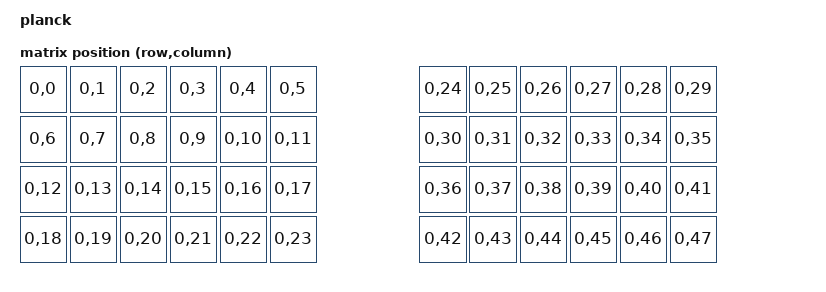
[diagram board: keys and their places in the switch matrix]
/*
 * SPDX-License-Identifier: MIT
 */

#include <nordic/nrf52840_qiaa.dtsi>
#include <dt-bindings/zmk/matrix_transform.h>
#include <physical_layouts.dtsi>

/ {
    model = "planck";
    compatible = "yangxing,planck";

    chosen {
        zephyr,code-partition = &code_partition;
        zephyr,sram = &sram0;
        zephyr,flash = &flash0;
        zephyr,entropy = &rng;
        zmk,battery = &vbatt;
    };

    default_transform: keymap_transform_0 {
        compatible = "zmk,matrix-transform";
        columns = <48>;
        rows = <1>;
        map = <
            RC(0,0)  RC(0,1)  RC(0,2)  RC(0,3)  RC(0,4)  RC(0,5)   RC(0,24) RC(0,25) RC(0,26) RC(0,27) RC(0,28) RC(0,29)
            RC(0,6)  RC(0,7)  RC(0,8)  RC(0,9)  RC(0,10) RC(0,11)  RC(0,30) RC(0,31) RC(0,32) RC(0,33) RC(0,34) RC(0,35)
            RC(0,12) RC(0,13) RC(0,14) RC(0,15) RC(0,16) RC(0,17)  RC(0,36) RC(0,37) RC(0,38) RC(0,39) RC(0,40) RC(0,41)
            RC(0,18) RC(0,19) RC(0,20) RC(0,21) RC(0,22) RC(0,23)  RC(0,42) RC(0,43) RC(0,44) RC(0,45) RC(0,46) RC(0,47)
        >;
    };

    matrix_physical_layout: matrix_physical_layout {
        compatible = "zmk,physical-layout";
        display-name = "PLANCKEYS default";
        
        transform = <&default_transform>;
        keys  //                     w   h    x    y     rot    rx    ry
            = <&key_physical_attrs 100 100    0    0       0     0     0>
            , <&key_physical_attrs 100 100  100    0       0     0     0>
            , <&key_physical_attrs 100 100  200    0       0     0     0>
            , <&key_physical_attrs 100 100  300    0       0     0     0>
            , <&key_physical_attrs 100 100  400    0       0     0     0>
            , <&key_physical_attrs 100 100  500    0       0     0     0>
            , <&key_physical_attrs 100 100  800    0       0  1400     0>
            , <&key_physical_attrs 100 100  900    0       0  1400     0>
            , <&key_physical_attrs 100 100 1000    0       0  1400     0>
            , <&key_physical_attrs 100 100 1100    0       0  1400     0>
            , <&key_physical_attrs 100 100 1200    0       0  1400     0>
            , <&key_physical_attrs 100 100 1300    0       0  1400     0>
            , <&key_physical_attrs 100 100    0  100       0     0     0>
            , <&key_physical_attrs 100 100  100  100       0     0     0>
            , <&key_physical_attrs 100 100  200  100       0     0     0>
            , <&key_physical_attrs 100 100  300  100       0     0     0>
            , <&key_physical_attrs 100 100  400  100       0     0     0>
            , <&key_physical_attrs 100 100  500  100       0     0     0>
            , <&key_physical_attrs 100 100  800  100       0  1400     0>
            , <&key_physical_attrs 100 100  900  100       0  1400     0>
            , <&key_physical_attrs 100 100 1000  100       0  1400     0>
            , <&key_physical_attrs 100 100 1100  100       0  1400     0>
            , <&key_physical_attrs 100 100 1200  100       0  1400     0>
            , <&key_physical_attrs 100 100 1300  100       0  1400     0>
            , <&key_physical_attrs 100 100    0  200       0     0     0>
            , <&key_physical_attrs 100 100  100  200       0     0     0>
            , <&key_physical_attrs 100 100  200  200       0     0     0>
            , <&key_physical_attrs 100 100  300  200       0     0     0>
            , <&key_physical_attrs 100 100  400  200       0     0     0>
            , <&key_physical_attrs 100 100  500  200       0     0     0>
            , <&key_physical_attrs 100 100  800  200       0  1400     0>
            , <&key_physical_attrs 100 100  900  200       0  1400     0>
            , <&key_physical_attrs 100 100 1000  200       0  1400     0>
            , <&key_physical_attrs 100 100 1100  200       0  1400     0>
            , <&key_physical_attrs 100 100 1200  200       0  1400     0>
            , <&key_physical_attrs 100 100 1300  200       0  1400     0>
            , <&key_physical_attrs 100 100    0  300       0     0     0>
            , <&key_physical_attrs 100 100  100  300       0     0     0>
            , <&key_physical_attrs 100 100  200  300       0     0     0>
            , <&key_physical_attrs 100 100  300  300       0     0     0>
            , <&key_physical_attrs 100 100  400  300       0     0     0>
            , <&key_physical_attrs 100 100  500  300       0     0     0>
            , <&key_physical_attrs 100 100  800  300       0  1400     0>
            , <&key_physical_attrs 100 100  900  300       0  1400     0>
            , <&key_physical_attrs 100 100 1000  300       0  1400     0>
            , <&key_physical_attrs 100 100 1100  300       0  1400     0>
            , <&key_physical_attrs 100 100 1200  300       0  1400     0>
            , <&key_physical_attrs 100 100 1300  300       0  1400     0>
            ;
    };

    vbatt: vbatt {
        compatible = "zmk,battery-nrf-vddh";
    };
};

&adc {
    status = "okay";
};

&gpiote {
    status = "okay";
};

&gpio0 {
    status = "okay";
};

&gpio1 {
    status = "okay";
};

&flash0 {
    partitions {
        compatible = "fixed-partitions";
        #address-cells = <1>;
        #size-cells = <1>;

        sd_partition: partition@0 {
            reg = <0x00000000 0x00026000>;
        };
        code_partition: partition@26000 {
            reg = <0x00026000 0x000c6000>;
        };
        storage_partition: partition@ec000 {
            reg = <0x000ec000 0x00008000>;
        };
        boot_partition: partition@f4000 {
            reg = <0x000f4000 0x0000c000>;
        };
    };
};
